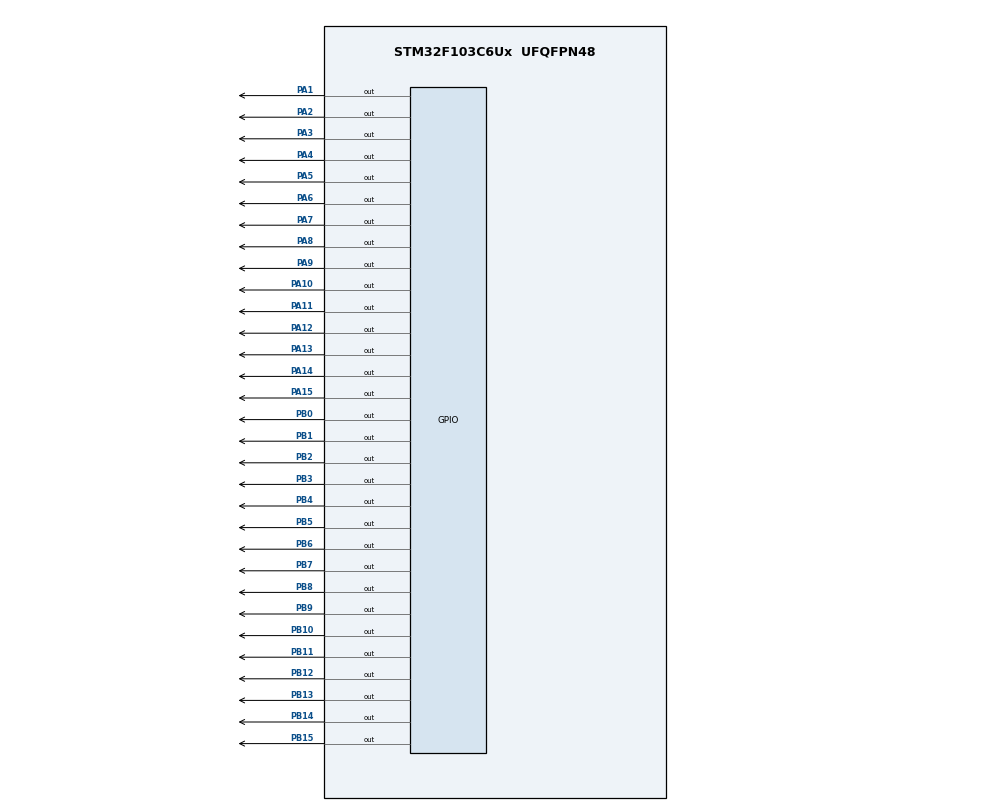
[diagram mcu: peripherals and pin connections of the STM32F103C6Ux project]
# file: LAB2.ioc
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Mcu.Family=STM32F1
Mcu.Name=STM32F103C6Ux
Mcu.Package=UFQFPN48
NVIC.PriorityGroup=NVIC_PRIORITYGROUP_4
NVIC.TIM2_IRQn=true\:0\:0\:false\:false\:true\:true\:true
PA1.Signal=GPIO_Output
PA10.Signal=GPIO_Output
PA11.Signal=GPIO_Output
PA12.Signal=GPIO_Output
PA13.Signal=GPIO_Output
PA14.Signal=GPIO_Output
PA15.Signal=GPIO_Output
PA2.Signal=GPIO_Output
PA3.Signal=GPIO_Output
PA4.Signal=GPIO_Output
PA5.Signal=GPIO_Output
PA6.Signal=GPIO_Output
PA7.Signal=GPIO_Output
PA8.Signal=GPIO_Output
PA9.Signal=GPIO_Output
PB0.Signal=GPIO_Output
PB1.Signal=GPIO_Output
PB10.Signal=GPIO_Output
PB11.Signal=GPIO_Output
PB12.Signal=GPIO_Output
PB13.Signal=GPIO_Output
PB14.Signal=GPIO_Output
PB15.Signal=GPIO_Output
PB2.Signal=GPIO_Output
PB3.Signal=GPIO_Output
PB4.Signal=GPIO_Output
PB5.Signal=GPIO_Output
PB6.Signal=GPIO_Output
PB7.Signal=GPIO_Output
PB8.Signal=GPIO_Output
PB9.Signal=GPIO_Output
ProjectManager.HeapSize=0x200
ProjectManager.StackSize=0x400
ProjectManager.TargetToolchain=STM32CubeIDE
RCC.APB1Freq_Value=8000000
RCC.APB2Freq_Value=8000000
TIM2.Period=9
TIM2.Prescaler=7999
VP_SYS_VS_ND.Mode=No_Debug
VP_TIM2_VS_ClockSourceINT.Mode=Internal
board=custom

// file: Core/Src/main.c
/* USER CODE BEGIN Header */
/**
  ******************************************************************************
  * @file           : main.c
  * @brief          : Main program body
  ******************************************************************************
  * @attention
  *
  * <h2><center>&copy; Copyright (c) 2021 STMicroelectronics.
  * All rights reserved.</center></h2>
  *
  * This software component is licensed by ST under BSD 3-Clause license,
  * the "License"; You may not use this file except in compliance with the
  * License. You may obtain a copy of the License at:
  *                        opensource.org/licenses/BSD-3-Clause
  *
  ******************************************************************************
  */
/* USER CODE END Header */
#include "main.h"

TIM_HandleTypeDef htim2;

void SystemClock_Config(void);
static void MX_TIM2_Init(void);
static void MX_GPIO_Init(void);

/* USER CODE BEGIN 0 */
int counter = 0;
int sw = 0;
const int MAX_LED = 4;
int index_led = 0;
int led_buffer [4] = {1 , 2 , 3 , 4};
int hour = 15 , minute = 8 , second = 50;
const int blink = 1000; //ms
const int switch_time = 250; //ms

const int TIMER_CYCLE = 10; //ms

int matrix_counter = 0;
int switch_counter = 0;
int timer0_counter = 0;
int matrix_flag = 0;
int timer0_flag = 0;
int switch_flag = 0;

void HAL_TIM_PeriodElapsedCallback ( TIM_HandleTypeDef * htim ){
	timer_run();
	switch_counter--;
	if(!switch_counter){
		switch_counter = switch_time/TIMER_CYCLE;
		update7SEG (index_led);
		if(index_led==3) index_led=0;
		else index_led++;
	}
}
/* USER CODE END 0 */

int main(void)
{

  /* MCU Configuration--------------------------------------------------------*/

  /* Reset of all peripherals, Initializes the Flash interface and the Systick. */
  HAL_Init();

  /* Configure the system clock */
  SystemClock_Config();

  /* Initialize all configured peripherals */
  MX_TIM2_Init();
  MX_GPIO_Init();
  /* USER CODE BEGIN 2 */
  HAL_TIM_Base_Start_IT(&htim2);

  /* USER CODE END 2 */

  /* Infinite loop */
  /* USER CODE BEGIN WHILE */

  //if in line 1 of the code above is miss, what happens after that and why?
  //-- timer0_counter = 0 => timer0_flag never = 1 in timer_run() => LED unchange

  //if in line 1 of the code above is changed to setTimer0(1), what happens after that and why?
  //-- timer0_counter = 1/10 = 0 => LED unchange

  //if in line 1 of the code above is changed to setTimer0(10), what is changed compared to 2 first questions and why?
  //-- timer0_counter = 10/10 = 1 => After 10ms, LED change
  updateClockBuffer ();
  updateMatrixBuffer();
  setMatrix0 (25);
  setTimer0 (1000) ;
  setSwitch0 (250);
  while (1)
  {
    /* USER CODE END WHILE */

    /* USER CODE BEGIN 3 */
	  if(matrix_flag == 1){

		  	updateLEDMatrix (index_led_matrix);
	  		if(index_led_matrix==7) index_led_matrix=0;
	  		else index_led_matrix++;
	  		setMatrix0 (25);
	  	}
	  if(switch_flag == 1){

	  		update7SEG (index_led);
	  		if(index_led==3) index_led=0;
	  		else index_led++;
	  		setSwitch0 (250);
	  	}
	  if( timer0_flag == 1) {
		  blink_dot();

		  second++;
		 	  		if(second >= 60){
		 	  			second = 0;
		 	  			minute++;
		 	  		}
		 	  		if(minute >= 60){
		 	  			minute = 0;
		 	  			hour++;
		 	  		}
		 	  		if(hour >= 24){
		 	  			hour = 0;
		 	  		}
		 	  		updateClockBuffer ();

	   setTimer0 (1000) ;
	  }
  }
  /* USER CODE END 3 */
}

void SystemClock_Config(void)
{
  RCC_OscInitTypeDef RCC_OscInitStruct = {0};
  RCC_ClkInitTypeDef RCC_ClkInitStruct = {0};

  /** Initializes the RCC Oscillators according to the specified parameters
  * in the RCC_OscInitTypeDef structure.
  */
  RCC_OscInitStruct.OscillatorType = RCC_OSCILLATORTYPE_HSI;
  RCC_OscInitStruct.HSIState = RCC_HSI_ON;
  RCC_OscInitStruct.HSICalibrationValue = RCC_HSICALIBRATION_DEFAULT;
  RCC_OscInitStruct.PLL.PLLState = RCC_PLL_NONE;
  if (HAL_RCC_OscConfig(&RCC_OscInitStruct) != HAL_OK)
  {
    Error_Handler();
  }
  /** Initializes the CPU, AHB and APB buses clocks
  */
  RCC_ClkInitStruct.ClockType = RCC_CLOCKTYPE_HCLK|RCC_CLOCKTYPE_SYSCLK
                              |RCC_CLOCKTYPE_PCLK1|RCC_CLOCKTYPE_PCLK2;
  RCC_ClkInitStruct.SYSCLKSource = RCC_SYSCLKSOURCE_HSI;
  RCC_ClkInitStruct.AHBCLKDivider = RCC_SYSCLK_DIV1;
  RCC_ClkInitStruct.APB1CLKDivider = RCC_HCLK_DIV1;
  RCC_ClkInitStruct.APB2CLKDivider = RCC_HCLK_DIV1;

  if (HAL_RCC_ClockConfig(&RCC_ClkInitStruct, FLASH_LATENCY_0) != HAL_OK)
  {
    Error_Handler();
  }
}

static void MX_TIM2_Init(void)
{

  TIM_ClockConfigTypeDef sClockSourceConfig = {0};
  TIM_MasterConfigTypeDef sMasterConfig = {0};

  htim2.Instance = TIM2;
  htim2.Init.Prescaler = 7999;
  htim2.Init.CounterMode = TIM_COUNTERMODE_UP;
  htim2.Init.Period = 9;
  htim2.Init.ClockDivision = TIM_CLOCKDIVISION_DIV1;
  htim2.Init.AutoReloadPreload = TIM_AUTORELOAD_PRELOAD_DISABLE;
  if (HAL_TIM_Base_Init(&htim2) != HAL_OK)
  {
    Error_Handler();
  }
  sClockSourceConfig.ClockSource = TIM_CLOCKSOURCE_INTERNAL;
  if (HAL_TIM_ConfigClockSource(&htim2, &sClockSourceConfig) != HAL_OK)
  {
    Error_Handler();
  }
  sMasterConfig.MasterOutputTrigger = TIM_TRGO_RESET;
  sMasterConfig.MasterSlaveMode = TIM_MASTERSLAVEMODE_DISABLE;
  if (HAL_TIMEx_MasterConfigSynchronization(&htim2, &sMasterConfig) != HAL_OK)
  {
    Error_Handler();
  }

}

static void MX_GPIO_Init(void)
{
  GPIO_InitTypeDef GPIO_InitStruct = {0};

  /* GPIO Ports Clock Enable */
  __HAL_RCC_GPIOA_CLK_ENABLE();
  __HAL_RCC_GPIOB_CLK_ENABLE();

  /*Configure GPIO pin Output Level */
  HAL_GPIO_WritePin(GPIOA, GPIO_PIN_1|GPIO_PIN_2|GPIO_PIN_3|GPIO_PIN_4
                          |GPIO_PIN_5|GPIO_PIN_6|GPIO_PIN_7|GPIO_PIN_8
                          |GPIO_PIN_9|GPIO_PIN_10|GPIO_PIN_11|GPIO_PIN_12
                          |GPIO_PIN_13|GPIO_PIN_14|GPIO_PIN_15, GPIO_PIN_RESET);

  /*Configure GPIO pin Output Level */
  HAL_GPIO_WritePin(GPIOB, GPIO_PIN_0|GPIO_PIN_1|GPIO_PIN_2|GPIO_PIN_10
                          |GPIO_PIN_11|GPIO_PIN_12|GPIO_PIN_13|GPIO_PIN_14
                          |GPIO_PIN_15|GPIO_PIN_3|GPIO_PIN_4|GPIO_PIN_5
                          |GPIO_PIN_6|GPIO_PIN_7|GPIO_PIN_8|GPIO_PIN_9, GPIO_PIN_RESET);

  /*Configure GPIO pins : PA1 PA2 PA3 PA4
                           PA5 PA6 PA7 PA8
                           PA9 PA10 PA11 PA12
                           PA13 PA14 PA15 */
  GPIO_InitStruct.Pin = GPIO_PIN_1|GPIO_PIN_2|GPIO_PIN_3|GPIO_PIN_4
                          |GPIO_PIN_5|GPIO_PIN_6|GPIO_PIN_7|GPIO_PIN_8
                          |GPIO_PIN_9|GPIO_PIN_10|GPIO_PIN_11|GPIO_PIN_12
                          |GPIO_PIN_13|GPIO_PIN_14|GPIO_PIN_15;
  GPIO_InitStruct.Mode = GPIO_MODE_OUTPUT_PP;
  GPIO_InitStruct.Pull = GPIO_NOPULL;
  GPIO_InitStruct.Speed = GPIO_SPEED_FREQ_LOW;
  HAL_GPIO_Init(GPIOA, &GPIO_InitStruct);

  /*Configure GPIO pins : PB0 PB1 PB2 PB10
                           PB11 PB12 PB13 PB14
                           PB15 PB3 PB4 PB5
                           PB6 PB7 PB8 PB9 */
  GPIO_InitStruct.Pin = GPIO_PIN_0|GPIO_PIN_1|GPIO_PIN_2|GPIO_PIN_10
                          |GPIO_PIN_11|GPIO_PIN_12|GPIO_PIN_13|GPIO_PIN_14
                          |GPIO_PIN_15|GPIO_PIN_3|GPIO_PIN_4|GPIO_PIN_5
                          |GPIO_PIN_6|GPIO_PIN_7|GPIO_PIN_8|GPIO_PIN_9;
  GPIO_InitStruct.Mode = GPIO_MODE_OUTPUT_PP;
  GPIO_InitStruct.Pull = GPIO_NOPULL;
  GPIO_InitStruct.Speed = GPIO_SPEED_FREQ_LOW;
  HAL_GPIO_Init(GPIOB, &GPIO_InitStruct);

}

void Error_Handler(void)
{
  __disable_irq();
  while (1)
  {
  }
}

/************************ (C) COPYRIGHT STMicroelectronics *****END OF FILE****/
